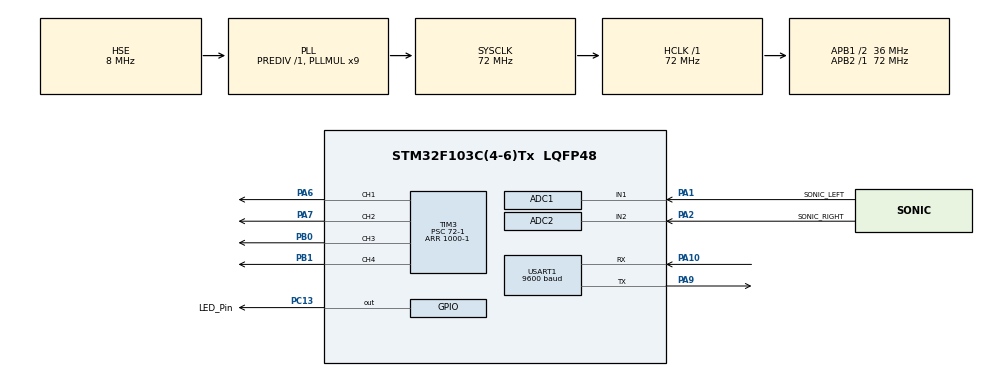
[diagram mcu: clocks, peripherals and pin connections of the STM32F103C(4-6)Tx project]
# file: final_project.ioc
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ADC1.Channel-1\#ChannelRegularConversion=ADC_CHANNEL_1
ADC1.NbrOfConversionFlag=1
ADC1.Rank-1\#ChannelRegularConversion=1
ADC1.SamplingTime-1\#ChannelRegularConversion=ADC_SAMPLETIME_239CYCLES_5
ADC1.master=1
ADC2.Channel-0\#ChannelRegularConversion=ADC_CHANNEL_2
ADC2.NbrOfConversionFlag=1
ADC2.Rank-0\#ChannelRegularConversion=1
ADC2.SamplingTime-0\#ChannelRegularConversion=ADC_SAMPLETIME_239CYCLES_5
Mcu.Family=STM32F1
Mcu.Name=STM32F103C(4-6)Tx
Mcu.Package=LQFP48
NVIC.ADC1_2_IRQn=true\:0\:0\:false\:false\:true\:true\:true
NVIC.PriorityGroup=NVIC_PRIORITYGROUP_4
NVIC.TIM1_BRK_IRQn=true\:0\:0\:false\:false\:true\:true\:true
NVIC.TIM1_CC_IRQn=true\:0\:0\:false\:false\:true\:true\:true
NVIC.TIM1_TRG_COM_IRQn=true\:0\:0\:false\:false\:true\:true\:true
NVIC.TIM1_UP_IRQn=true\:0\:0\:false\:false\:true\:true\:true
NVIC.USART1_IRQn=true\:0\:0\:false\:false\:true\:true\:true
PA1.GPIO_Label=SONIC_LEFT
PA1.Signal=SharedAnalog_PA1
PA10.Mode=Asynchronous
PA10.Signal=USART1_RX
PA13.Mode=Serial_Wire
PA13.Signal=SYS_JTMS-SWDIO
PA14.Mode=Serial_Wire
PA14.Signal=SYS_JTCK-SWCLK
PA2.GPIO_Label=SONIC_RIGHT
PA2.Signal=SharedAnalog_PA2
PA6.Signal=S_TIM3_CH1
PA7.Signal=S_TIM3_CH2
PA9.Mode=Asynchronous
PA9.Signal=USART1_TX
PB0.Signal=S_TIM3_CH3
PB1.Signal=S_TIM3_CH4
PC13-TAMPER-RTC.GPIO_Label=LED_Pin
PC13-TAMPER-RTC.Signal=GPIO_Output
PD0-OSC_IN.Mode=HSE-External-Oscillator
PD0-OSC_IN.Signal=RCC_OSC_IN
PD1-OSC_OUT.Mode=HSE-External-Oscillator
PD1-OSC_OUT.Signal=RCC_OSC_OUT
ProjectManager.HeapSize=0x200
ProjectManager.StackSize=0x400
ProjectManager.TargetToolchain=MDK-ARM V5
RCC.ADCPresc=RCC_ADCPCLK2_DIV6
RCC.AHBFreq_Value=72000000
RCC.APB1CLKDivider=RCC_HCLK_DIV2
RCC.APB1Freq_Value=36000000
RCC.APB1TimFreq_Value=72000000
RCC.APB2Freq_Value=72000000
RCC.APB2TimFreq_Value=72000000
RCC.HCLKFreq_Value=72000000
RCC.PLLMUL=RCC_PLL_MUL9
RCC.PLLSourceVirtual=RCC_PLLSOURCE_HSE
RCC.SYSCLKFreq_VALUE=72000000
RCC.SYSCLKSource=RCC_SYSCLKSOURCE_PLLCLK
RCC.USBFreq_Value=48000000
RCC.USBPrescaler=RCC_USBCLKSOURCE_PLL_DIV1_5
SH.S_TIM3_CH1.0=TIM3_CH1,PWM Generation1 CH1
SH.S_TIM3_CH2.0=TIM3_CH2,PWM Generation2 CH2
SH.S_TIM3_CH3.0=TIM3_CH3,PWM Generation3 CH3
SH.S_TIM3_CH4.0=TIM3_CH4,PWM Generation4 CH4
SH.SharedAnalog_PA1.0=GPIO_Analog
SH.SharedAnalog_PA1.1=ADC1_IN1,IN1
SH.SharedAnalog_PA2.0=GPIO_Analog
SH.SharedAnalog_PA2.1=ADC2_IN2,IN2
TIM1.Period=10-1
TIM1.Prescaler=18-1
TIM3.Channel-PWM\ Generation1\ CH1=TIM_CHANNEL_1
TIM3.Channel-PWM\ Generation2\ CH2=TIM_CHANNEL_2
TIM3.Channel-PWM\ Generation3\ CH3=TIM_CHANNEL_3
TIM3.Channel-PWM\ Generation4\ CH4=TIM_CHANNEL_4
TIM3.Period=1000-1
TIM3.Prescaler=72-1
USART1.BaudRate=9600
USART1.VirtualMode=VM_ASYNC
VP_TIM1_VS_ClockSourceINT.Mode=Internal
board=custom

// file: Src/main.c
/* USER CODE BEGIN Header */
/**
  ******************************************************************************
  * @file           : main.c
  * @brief          : Main program body
  ******************************************************************************
  * @attention
  *
  * <h2><center>&copy; Copyright (c) 2021 STMicroelectronics.
  * All rights reserved.</center></h2>
  *
  * This software component is licensed by ST under BSD 3-Clause license,
  * the "License"; You may not use this file except in compliance with the
  * License. You may obtain a copy of the License at:
  *                        opensource.org/licenses/BSD-3-Clause
  *
  ******************************************************************************
  */
/* USER CODE END Header */

#include "main.h"
#include "adc.h"
#include "tim.h"
#include "usart.h"
#include "gpio.h"

/* USER CODE BEGIN Includes */
#include <math.h>
#include <string.h>
/* USER CODE END Includes */

/* USER CODE BEGIN PTD */
typedef struct {
		float rec[10];
		float max_v;
		float min_v;
		float vpp;
		uint8_t count;
} VOL;

typedef struct {
		float kp, ki, kd;
		float pmax, imax, dmax;
		float sum;
		float this_error;
		float last_error;
		float output;
} PID;
/* USER CODE END PTD */

/* USER CODE BEGIN PD */
#define VCC 3.3
#define max(a,b) ((a>b)? a:b)
#define min(a,b) ((a>b)? b:a)
#define INRANGE(NUM, MIN, MAX) \
{\
    if(NUM<MIN){\
        NUM=MIN;\
    }else if(NUM>MAX){\
        NUM=MAX;\
    }\
}
/* USER CODE END PD */

/* USER CODE BEGIN PV */
float right = 0;
float left = 0;
float delta = 0;
float speed1 = 0;
float speed2 = 0;
uint8_t state = 0;
uint8_t cmd = 0;
VOL sonic_left = {
		.rec = {0},
		.max_v = 0,
		.min_v = VCC,
		.count = 0,
		.vpp = 0,
};

VOL sonic_right = {
		.rec = {0},
		.max_v = 0,
		.min_v = VCC,
		.count = 0,
		.vpp = 0,
};

PID pid = {
		.kp = 900,
		.ki = 0,
		.kd = 100,
		.pmax = 700,
		.imax = 0,
		.dmax = 600,
		.sum = 0,
		.this_error = 0,
};
/* USER CODE END PV */

void SystemClock_Config(void);
/* USER CODE BEGIN PFP */
void SetChassisSpeed(int16_t left, int16_t right);
void ReadSonicVoltage(VOL *feedback, float value);
float Calculate(PID *pid, float error);
void MainControlLoop(void);
/* USER CODE END PFP */

int main(void)
{

  /* MCU Configuration--------------------------------------------------------*/

  /* Reset of all peripherals, Initializes the Flash interface and the Systick. */
  HAL_Init();

  /* Configure the system clock */
  SystemClock_Config();

  /* Initialize all configured peripherals */
  MX_GPIO_Init();
  MX_TIM1_Init();
  MX_ADC1_Init();
  MX_USART1_UART_Init();
  MX_ADC2_Init();
  MX_TIM3_Init();
  /* USER CODE BEGIN 2 */
	HAL_UART_Transmit_IT(&huart1, (uint8_t *)&("Power On\n"), sizeof("Power On\n"));
	HAL_TIM_Base_Start(&htim3);
	HAL_TIM_PWM_Start(&htim3, TIM_CHANNEL_1);
	HAL_TIM_PWM_Start(&htim3, TIM_CHANNEL_2);
	HAL_TIM_PWM_Start(&htim3, TIM_CHANNEL_3);
	HAL_TIM_PWM_Start(&htim3, TIM_CHANNEL_4);
	HAL_ADCEx_Calibration_Start(&hadc1);
	HAL_ADCEx_Calibration_Start(&hadc2);
	HAL_TIM_Base_Start_IT(&htim1);
	//HAL_TIM_Base_Start_IT(&htim2);
	HAL_ADC_Start_IT(&hadc1);
	HAL_ADC_Start_IT(&hadc2);
  /* USER CODE END 2 */

  /* Infinite loop */
  while (1)
  {

    /* USER CODE BEGIN 3 */
		HAL_UART_Receive_IT(&huart1, (uint8_t *)&cmd, sizeof(cmd));
		//MainControlLoop();
		// SetChassisSpeed(0, 0);
		if (cmd == 'n' || cmd == 'N') {
			SetChassisSpeed(0,0);
		}
		else if (cmd == 'y' || cmd == 'Y') {
			MainControlLoop();
		}
		else if (cmd == 't' || cmd == 'T') {
			delta = sonic_left.vpp - sonic_right.vpp;
			float out = Calculate(&pid, delta);
			SetChassisSpeed(-out, out);
		}
		//MainControlLoop();
  }
  /* USER CODE END 3 */
}

void SystemClock_Config(void)
{
  RCC_OscInitTypeDef RCC_OscInitStruct = {0};
  RCC_ClkInitTypeDef RCC_ClkInitStruct = {0};
  RCC_PeriphCLKInitTypeDef PeriphClkInit = {0};

  /** Initializes the CPU, AHB and APB busses clocks
  */
  RCC_OscInitStruct.OscillatorType = RCC_OSCILLATORTYPE_HSE;
  RCC_OscInitStruct.HSEState = RCC_HSE_ON;
  RCC_OscInitStruct.HSEPredivValue = RCC_HSE_PREDIV_DIV1;
  RCC_OscInitStruct.HSIState = RCC_HSI_ON;
  RCC_OscInitStruct.PLL.PLLState = RCC_PLL_ON;
  RCC_OscInitStruct.PLL.PLLSource = RCC_PLLSOURCE_HSE;
  RCC_OscInitStruct.PLL.PLLMUL = RCC_PLL_MUL9;
  if (HAL_RCC_OscConfig(&RCC_OscInitStruct) != HAL_OK)
  {
    Error_Handler();
  }
  /** Initializes the CPU, AHB and APB busses clocks
  */
  RCC_ClkInitStruct.ClockType = RCC_CLOCKTYPE_HCLK|RCC_CLOCKTYPE_SYSCLK
                              |RCC_CLOCKTYPE_PCLK1|RCC_CLOCKTYPE_PCLK2;
  RCC_ClkInitStruct.SYSCLKSource = RCC_SYSCLKSOURCE_PLLCLK;
  RCC_ClkInitStruct.AHBCLKDivider = RCC_SYSCLK_DIV1;
  RCC_ClkInitStruct.APB1CLKDivider = RCC_HCLK_DIV2;
  RCC_ClkInitStruct.APB2CLKDivider = RCC_HCLK_DIV1;

  if (HAL_RCC_ClockConfig(&RCC_ClkInitStruct, FLASH_LATENCY_2) != HAL_OK)
  {
    Error_Handler();
  }
  PeriphClkInit.PeriphClockSelection = RCC_PERIPHCLK_ADC;
  PeriphClkInit.AdcClockSelection = RCC_ADCPCLK2_DIV6;
  if (HAL_RCCEx_PeriphCLKConfig(&PeriphClkInit) != HAL_OK)
  {
    Error_Handler();
  }
}

/* USER CODE BEGIN 4 */

/**
*** The IT callback functions
*/
void HAL_UART_RxCpltCallback(UART_HandleTypeDef *huart) {
		if (huart->Instance == huart1.Instance) {
				HAL_UART_Transmit_IT(&huart1, (uint8_t *)&("OK"), sizeof("OK"));
		}
}

void HAL_TIM_PeriodElapsedCallback(TIM_HandleTypeDef *htim) {
		if (htim->Instance == htim1.Instance) { //400kHz used to measure the voltage of sonic sensor
				ReadSonicVoltage(&sonic_left, left);
				ReadSonicVoltage(&sonic_right, right);
			//MainControlLoop();
		}
}

void HAL_ADC_ConvCpltCallback(ADC_HandleTypeDef* hadc) {
		if (hadc->Instance == hadc1.Instance) {
				left = (float)HAL_ADC_GetValue(&hadc1) / 4096.0f * VCC; //12-digits adc
				HAL_ADC_Start_IT(&hadc1);
		}
		if (hadc->Instance == hadc2.Instance) {
				right = (float)HAL_ADC_GetValue(&hadc2) / 4096.0f * VCC; //12-digits adc
				HAL_ADC_Start_IT(&hadc2);
		}
}
/**
*** Functions for chassis-controlling
*/
void SetChassisSpeed(int16_t left, int16_t right) {
		// left motor
		if (left > 0) {
				__HAL_TIM_SetCompare(&htim3, TIM_CHANNEL_1, left);
			  __HAL_TIM_SetCompare(&htim3, TIM_CHANNEL_2, 0);
		}
		else if (left == 0) {
				__HAL_TIM_SetCompare(&htim3, TIM_CHANNEL_1, 0);
			  __HAL_TIM_SetCompare(&htim3, TIM_CHANNEL_2, 0);
		}
		else if (left < 0) {
				__HAL_TIM_SetCompare(&htim3, TIM_CHANNEL_1, 0);
			  __HAL_TIM_SetCompare(&htim3, TIM_CHANNEL_2, -left);
		}

		// right motor
		if (right > 0) {
				__HAL_TIM_SetCompare(&htim3, TIM_CHANNEL_3, right);
			  __HAL_TIM_SetCompare(&htim3, TIM_CHANNEL_4, 0);
		}
		else if (right == 0) {
				__HAL_TIM_SetCompare(&htim3, TIM_CHANNEL_3, 0);
			  __HAL_TIM_SetCompare(&htim3, TIM_CHANNEL_4, 0);
		}
		else if (right < 0) {
				__HAL_TIM_SetCompare(&htim3, TIM_CHANNEL_3, 0);
			  __HAL_TIM_SetCompare(&htim3, TIM_CHANNEL_4, -right);
		}
}
/**
*** Read sonic value
*/
void ReadSonicVoltage(VOL *feedback, float value) {
		feedback->rec[feedback->count] = value;
		feedback->count++;
		if (feedback->count == 10) {
				for (int i = 0; i < 10; i++) {
						feedback->max_v = max(feedback->max_v, feedback->rec[i]);
						feedback->min_v = min(feedback->min_v, feedback->rec[i]);
				}
				feedback->vpp = feedback->max_v - feedback->min_v;
				feedback->count = 0;
				feedback->max_v = 0;
				feedback->min_v = VCC;
		}
}
/**
*** pid regulater
*/
float Calculate(PID *pid, float error) {
		pid->last_error = pid->this_error;
		pid->this_error = error;
		float pcom = pid->kp * pid->this_error;
		float dcom = pid->kd * (pid->this_error - pid->last_error);
		pid->sum += pid->this_error;
		INRANGE(pcom, -pid->pmax, pid->pmax)
		INRANGE(dcom, -pid->dmax, pid->dmax)
		INRANGE(pid->sum, -pid->imax, pid->imax)
		pid->output = pcom + dcom + pid->sum * pid->ki;
		return pid->output;
}
/**
*** main control loop
*/
void MainControlLoop() {
		//stop
		if (sonic_left.vpp > 1.2f || sonic_right.vpp > 1.20f) {
				SetChassisSpeed(0,0);
				state = 0;
				return;
		}
		//forward
		if (fabs(sonic_left.vpp - sonic_right.vpp) < 0.4) {
				SetChassisSpeed(550,550);
				state = 1;
				return;
		}
		//turn
		else {
			delta = sonic_left.vpp - sonic_right.vpp;
			float out = Calculate(&pid, delta);
			SetChassisSpeed(-out, out);
		}
}
/* USER CODE END 4 */

void Error_Handler(void)
{
}

/************************ (C) COPYRIGHT STMicroelectronics *****END OF FILE****/
